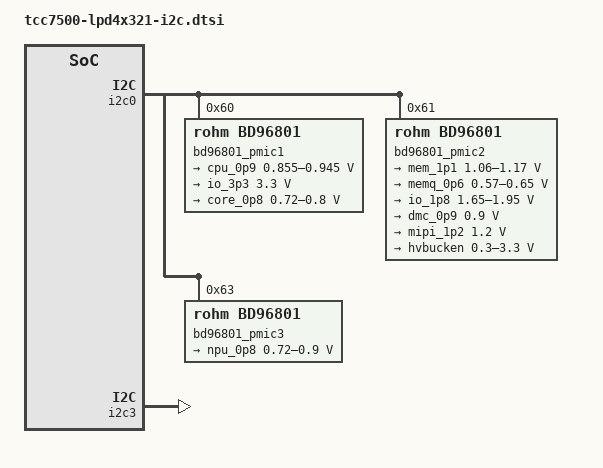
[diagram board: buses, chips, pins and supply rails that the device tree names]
// SPDX-License-Identifier: (GPL-2.0-or-later OR MIT)
/*
 * Copyright (C) 2023 Telechips Inc.
 */

&i2c0 {
	status = "okay";
	pinctrl-names = "default", "sleep";
	pinctrl-0 = <&i2c_scl_mfio_25_a &i2c_sda_mfio_26_a>;
	pinctrl-1 = <&i2c_scl_mfio_25_s &i2c_sda_mfio_26_s>;

	#address-cells = <1>;
	#size-cells = <0>;

	bd96801_pmic1: pmic@60 {
		compatible = "rohm,bd96801";
		reg = <0x60>;

		regulators {
			cpu_0p9: BUCK1 {
				regulator-name = "cpu_0p9";
				rohm,initial-voltage-microvolt = <900000>;
				regulator-min-microvolt = <855000>;
				regulator-max-microvolt = <945000>;
				regulator-always-on;
				regulator-boot-on;
			}; //Connected to CPU_0P9

			io_3p3: BUCK2 {
				regulator-name = "io_3p3";
				rohm,initial-voltage-microvolt = <3300000>;
				regulator-min-microvolt = <3300000>; /* FIXME */
				regulator-max-microvolt = <3300000>;
				regulator-always-on;
				regulator-boot-on;
			}; //Connected to IO_3P3

			core_0p8: BUCK3 {
				regulator-name = "core_0p8";
				rohm,initial-voltage-microvolt = <800000>;
				regulator-min-microvolt = <720000>;
				regulator-max-microvolt = <800000>;
				regulator-always-on;
				regulator-boot-on;
			}; //Connected to CORE_0P8
		};
	};

	bd96801_pmic2: pmic@61 {
		compatible = "rohm,bd96801";
		reg = <0x61>;

		regulators {
			/*
			The nodes of BUCK1 and LDO5 were removed for the following reasons:

			- BUCK1
			The voltage used by peripherals connected to the IO subsystem,
			so it needs to be fixed to 3.3V (default voltage = 3.3V)

			- LDO5
			The LDO5 supplies a voltage to the CPU_1P2 of the tcc750x.
			Changing the initial voltage of LDO5 is accomplished by the
			set_ldo_initial_voltage() function of the pmic driver.
			When changing the voltage, only 0.3V, 0.5V, 1.8V, and 3.3V can be changed.
			However, the allowable voltage range of the CPU_1P2 is 1.14V to 1.26V.
			Therefore, changing the mode may cause chip specout. (default voltage = 1.2V)
			*/

			mem_1p1: BUCK1 {
				regulator-name = "mem_1p1";
				rohm,initial-voltage-microvolt = <1100000>;
				regulator-min-microvolt = <1060000>;
				regulator-max-microvolt = <1170000>;
				regulator-always-on;
				regulator-boot-on;
			}; //Connected to MEM_1P1

			memq_0p6: BUCK2 {
				regulator-name = "memq_0p6";
				rohm,initial-voltage-microvolt = <600000>;
				regulator-min-microvolt = <570000>;
				regulator-max-microvolt = <650000>;
				regulator-always-on;
				regulator-boot-on;
			}; //Connected to MEMQ_0P6

			io_1p8: BUCK3 {
				regulator-name = "io_1p8";
				rohm,initial-voltage-microvolt = <1800000>;
				regulator-min-microvolt = <1650000>;
				regulator-max-microvolt = <1950000>;
				regulator-always-on;
				regulator-boot-on;
			}; //Connected to IO_1P8

			dmc_0p9: BUCK4 {
				regulator-name = "dmc_0p9";
				rohm,initial-voltage-microvolt = <900000>;
				regulator-min-microvolt = <900000>;
				regulator-max-microvolt = <900000>;
				regulator-always-on;
				regulator-boot-on;
			}; //Connected to dmc_0p9

			mipi_1p2: LDO5 {
				regulator-name = "mipi_1p2";
				rohm,initial-voltage-microvolt = <1200000>;
				regulator-min-microvolt = <1200000>;
				regulator-max-microvolt = <1200000>;
				regulator-always-on;
				regulator-boot-on;
			}; //Connected to MIPI_1P2

			hvbucken: LDO7 {
				regulator-name = "hvbucken";
				rohm,initial-voltage-microvolt = <3300000>;
				regulator-min-microvolt = <300000>;
				regulator-max-microvolt = <3300000>;
				regulator-always-on;
				regulator-boot-on;
			}; //Connected to HVBUCK EN Signal
		};
	};

	bd96801_pmic3: pmic@63 {
		compatible = "rohm,bd96801";
		reg = <0x63>;

		regulators {
			npu_0p8: BUCK1 {
				regulator-name = "npu_0p8";
				rohm,initial-voltage-microvolt = <800000>;
				regulator-min-microvolt = <720000>;
				regulator-max-microvolt = <900000>;
				regulator-always-on;
				regulator-boot-on;
			}; //Connected to NPU_0P8
        };
    };
};

&i2c3 {
	status = "okay";
	pinctrl-names = "default", "sleep";
	pinctrl-0 = <&i2c_scl_mfio_4_a &i2c_sda_mfio_5_a>;
	pinctrl-1 = <&i2c_scl_mfio_4_s &i2c_sda_mfio_5_s>;

	#address-cells = <1>;
	#size-cells = <0>;
};

&pinctrl {
	/* Active state */
	i2c_scl_mfio_25_a: i2c_scl_mfio_25_a {
		telechips,pins = "gpe-3";
		telechips,pin-function = <7>;
		telechips,input-enable;
		telechips,no-pull;
		telechips,mfio = <0>;
	};

	/* Sleep state */
	i2c_scl_mfio_25_s: i2c_scl_mfio_25_s {
		telechips,pins = "gpe-3";
		telechips,pin-function = <0>;
	};

	/* Active state */
	i2c_sda_mfio_26_a: i2c_sda_mfio_26_a {
		telechips,pins = "gpe-4";
		telechips,pin-function = <7>;
		telechips,input-enable;
		telechips,no-pull;
		telechips,mfio = <1>;
	};

	/* Sleep state */
	i2c_sda_mfio_26_s: i2c_sda_mfio_26_s {
		telechips,pins = "gpe-4";
		telechips,pin-function = <0>;
	};

	/* Active state */
	i2c_scl_mfio_12_a: i2c_scl_mfio_12_a {
		telechips,pins = "gpc-6";
		telechips,pin-function = <7>;
		telechips,input-enable;
		telechips,no-pull;
		telechips,mfio = <2>;
	};

	/* Sleep state */
	i2c_scl_mfio_12_s: i2c_scl_mfio_12_s {
		telechips,pins = "gpc-6";
		telechips,pin-function = <0>;
	};

	/* Active state */
	i2c_sda_mfio_13_a: i2c_sda_mfio_13_a {
		telechips,pins = "gpc-7";
		telechips,pin-function = <7>;
		telechips,input-enable;
		telechips,no-pull;
		telechips,mfio = <3>;
	};

	/* Sleep state */
	i2c_sda_mfio_13_s: i2c_sda_mfio_13_s {
		telechips,pins = "gpc-7";
		telechips,pin-function = <0>;
	};

	/* Active state */
	i2c_scl_mfio_4_a: i2c_scl_mfio_4_a {
		telechips,pins = "gpg-4";
		telechips,pin-function = <7>;
		telechips,input-enable;
		telechips,no-pull;
		telechips,mfio = <28>;
	};

	/* Sleep state */
	i2c_scl_mfio_4_s: i2c_scl_mfio_4_s {
		telechips,pins = "gpg-4";
		telechips,pin-function = <0>;
	};

	/* Active state */
	i2c_sda_mfio_5_a: i2c_sda_mfio_5_a {
		telechips,pins = "gpg-5";
		telechips,pin-function = <7>;
		telechips,input-enable;
		telechips,no-pull;
		telechips,mfio = <29>;
	};

	/* Sleep state */
	i2c_sda_mfio_5_s: i2c_sda_mfio_5_s {
		telechips,pins = "gpg-5";
		telechips,pin-function = <0>;
	};
};
